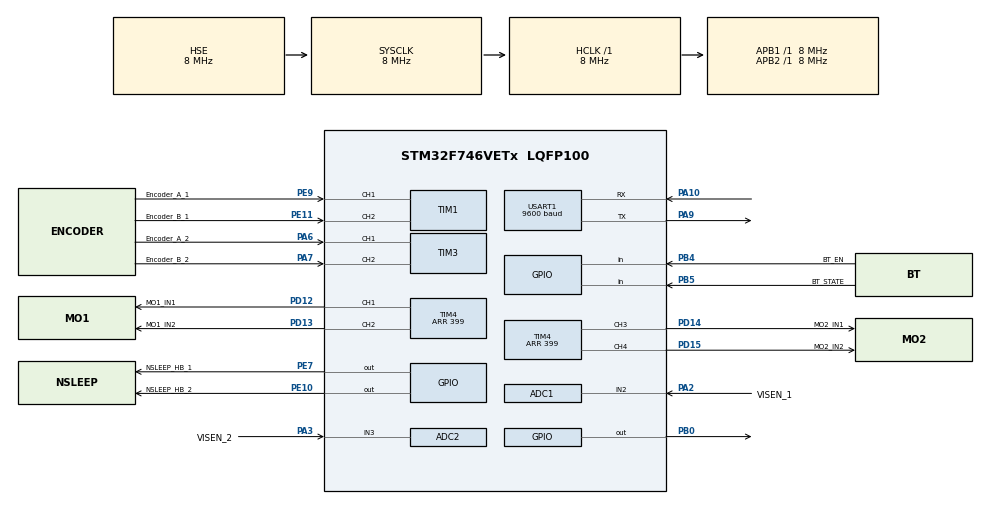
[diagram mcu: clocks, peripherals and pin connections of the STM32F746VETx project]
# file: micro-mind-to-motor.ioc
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ADC1.Channel-1\#ChannelRegularConversion=ADC_CHANNEL_2
ADC1.NbrOfConversionFlag=1
ADC1.Rank-1\#ChannelRegularConversion=1
ADC1.SamplingTime-1\#ChannelRegularConversion=ADC_SAMPLETIME_3CYCLES
ADC1.master=1
ADC2.Channel-0\#ChannelRegularConversion=ADC_CHANNEL_3
ADC2.NbrOfConversionFlag=1
ADC2.Rank-0\#ChannelRegularConversion=1
ADC2.SamplingTime-0\#ChannelRegularConversion=ADC_SAMPLETIME_3CYCLES
CORTEX_M7.default_mode_Activation=1
Mcu.Family=STM32F7
Mcu.Name=STM32F746VETx
Mcu.Package=LQFP100
NVIC.PriorityGroup=NVIC_PRIORITYGROUP_4
NVIC.USART1_IRQn=true\:5\:0\:false\:false\:true\:true\:true\:true
PA10.Mode=Asynchronous
PA10.Signal=USART1_RX
PA13.Mode=Serial_Wire
PA13.Signal=SYS_JTMS-SWDIO
PA14.Mode=Serial_Wire
PA14.Signal=SYS_JTCK-SWCLK
PA2.GPIO_Label=VISEN_1
PA2.Signal=ADCx_IN2
PA3.GPIO_Label=VISEN_2
PA3.Signal=ADCx_IN3
PA6.GPIO_Label=Encoder_A_2
PA6.Signal=S_TIM3_CH1
PA7.GPIO_Label=Encoder_B_2
PA7.Signal=S_TIM3_CH2
PA9.Mode=Asynchronous
PA9.Signal=USART1_TX
PB0.Signal=GPIO_Output
PB4.GPIO_Label=BT_EN
PB4.Signal=GPIO_Input
PB5.GPIO_Label=BT_STATE
PB5.Signal=GPIO_Input
PC14/OSC32_IN.Mode=LSE-External-Oscillator
PC14/OSC32_IN.Signal=RCC_OSC32_IN
PC15/OSC32_OUT.Mode=LSE-External-Oscillator
PC15/OSC32_OUT.Signal=RCC_OSC32_OUT
PD12.GPIO_Label=MO1_IN1
PD12.Signal=S_TIM4_CH1
PD13.GPIO_Label=MO1_IN2
PD13.Signal=S_TIM4_CH2
PD14.GPIO_Label=MO2_IN1
PD14.Signal=S_TIM4_CH3
PD15.GPIO_Label=MO2_IN2
PD15.Signal=S_TIM4_CH4
PE10.GPIO_Label=NSLEEP_HB_2
PE10.Signal=GPIO_Output
PE11.GPIO_Label=Encoder_B_1
PE11.Signal=S_TIM1_CH2
PE7.GPIO_Label=NSLEEP_HB_1
PE7.Signal=GPIO_Output
PE9.GPIO_Label=Encoder_A_1
PE9.Signal=S_TIM1_CH1
PH0/OSC_IN.Mode=HSE-External-Oscillator
PH0/OSC_IN.Signal=RCC_OSC_IN
PH1/OSC_OUT.Mode=HSE-External-Oscillator
PH1/OSC_OUT.Signal=RCC_OSC_OUT
ProjectManager.HeapSize=0x200
ProjectManager.StackSize=0x400
ProjectManager.TargetToolchain=STM32CubeIDE
RCC.AHBFreq_Value=8000000
RCC.APB1Freq_Value=8000000
RCC.APB1TimFreq_Value=8000000
RCC.APB2Freq_Value=8000000
RCC.APB2TimFreq_Value=8000000
RCC.CSICalibrationValue=32
RCC.CortexFreq_Value=8000000
RCC.DATA_CACHE_ENABLE=1
RCC.HCLKFreq_Value=8000000
RCC.HSE_VALUE=8000000
RCC.HSI_VALUE=16000000
RCC.INSTRUCTION_CACHE_ENABLE=1
RCC.LSE_Drive_CapabilityArg=RCC_LSEDRIVE_LOW
RCC.MSIAutoCalibration=ENABLED
RCC.MSICalibrationValue=0
RCC.PLL1_VCI_Range=RCC_PLL1VCIRANGE_3
RCC.PLL1_VCO_SEL=RCC_PLL1VCOWIDE
RCC.PLL2FRACN=0
RCC.PLL2_VCI_Range=RCC_PLL2VCIRANGE_3
RCC.PLL2_VCO_SEL=RCC_PLL2VCOWIDE
RCC.PLL3FRACN=0
RCC.PLL3_VCI_Range=RCC_PLL3VCIRANGE_3
RCC.PLL3_VCO_SEL=RCC_PLL3VCOWIDE
RCC.PLLFRACN=0
RCC.PLLSourceVirtual=RCC_PLLSOURCE_HSE
RCC.PREFETCH_ENABLE=0
RCC.ProductRev=revV
RCC.SYSCLKFreq_VALUE=8000000
RCC.SYSCLKSource=RCC_SYSCLKSOURCE_HSE
RCC.USBFreq_Value=48000000
RCC.VCOOutputFreq_Value=96000000
SH.ADCx_IN2.0=ADC1_IN2,IN2
SH.ADCx_IN3.0=ADC2_IN3,IN3
SH.S_TIM1_CH1.0=TIM1_CH1,Encoder_Interface
SH.S_TIM1_CH2.0=TIM1_CH2,Encoder_Interface
SH.S_TIM3_CH1.0=TIM3_CH1,Encoder_Interface
SH.S_TIM3_CH2.0=TIM3_CH2,Encoder_Interface
SH.S_TIM4_CH1.0=TIM4_CH1,PWM Generation1 CH1
SH.S_TIM4_CH2.0=TIM4_CH2,PWM Generation2 CH2
SH.S_TIM4_CH3.0=TIM4_CH3,PWM Generation3 CH3
SH.S_TIM4_CH4.0=TIM4_CH4,PWM Generation4 CH4
TIM1.EncoderMode=TIM_ENCODERMODE_TI12
TIM1.IC1Filter=8
TIM1.IC2Filter=8
TIM3.EncoderMode=TIM_ENCODERMODE_TI12
TIM3.IC1Filter=8
TIM3.IC2Filter=8
TIM4.AutoReloadPreload=TIM_AUTORELOAD_PRELOAD_ENABLE
TIM4.Channel-PWM\ Generation1\ CH1=TIM_CHANNEL_1
TIM4.Channel-PWM\ Generation2\ CH2=TIM_CHANNEL_2
TIM4.Channel-PWM\ Generation3\ CH3=TIM_CHANNEL_3
TIM4.Channel-PWM\ Generation4\ CH4=TIM_CHANNEL_4
TIM4.Period=399
USART1.BaudRate=9600
USART1.VirtualMode-Asynchronous=VM_ASYNC
VP_TIM4_VS_ClockSourceINT.Mode=Internal
board=custom

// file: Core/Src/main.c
/* USER CODE BEGIN Header */
/**
  ******************************************************************************
  * @file           : main.c
  * @brief          : Main program body
  ******************************************************************************
  * @attention
  *
  * Copyright (c) 2026 STMicroelectronics.
  * All rights reserved.
  *
  * This software is licensed under terms that can be found in the LICENSE file
  * in the root directory of this software component.
  * If no LICENSE file comes with this software, it is provided AS-IS.
  *
  ******************************************************************************
  */
/* USER CODE END Header */
#include "main.h"

/* USER CODE BEGIN Includes */
#include <stdio.h>
/* USER CODE END Includes */

/* USER CODE BEGIN PD */
/* Motor input pins -> TIM4 channels */
#define MO1_IN1   TIM_CHANNEL_1   // PD12  TIM4_CH1  Motor 1 (U3, J8)
#define MO1_IN2   TIM_CHANNEL_2   // PD13  TIM4_CH2
#define MO2_IN1   TIM_CHANNEL_3   // PD14  TIM4_CH3  Motor 2 (U2, J7)
#define MO2_IN2   TIM_CHANNEL_4   // PD15  TIM4_CH4
#define MOTOR_MAX_DUTY_PERCENT 71
#define LINK_TIMEOUT_MS       400U
#define STATUS_PERIOD_MS      100U
#define RX_LINE_CAPACITY       16U
#define UART_RX_BUFFER_CAPACITY 64U
/* USER CODE END PD */

ADC_HandleTypeDef hadc1;
ADC_HandleTypeDef hadc2;

TIM_HandleTypeDef htim1;
TIM_HandleTypeDef htim3;
TIM_HandleTypeDef htim4;

UART_HandleTypeDef huart1;

/* USER CODE BEGIN PV */
static uint8_t uart_rx_interrupt_byte;
static volatile uint8_t uart_rx_buffer[UART_RX_BUFFER_CAPACITY];
static volatile uint16_t uart_rx_head;
static volatile uint16_t uart_rx_tail;
static volatile uint32_t uart_rx_errors;
/* USER CODE END PV */

void SystemClock_Config(void);
static void MPU_Config(void);
static void MX_GPIO_Init(void);
static void MX_ADC1_Init(void);
static void MX_TIM1_Init(void);
static void MX_TIM3_Init(void);
static void MX_TIM4_Init(void);
static void MX_ADC2_Init(void);
static void MX_USART1_UART_Init(void);
/* USER CODE BEGIN PFP */
static void Motors_Stop(void);
static int16_t Motors_ClampWheelPercent(int16_t percent);
static void Motors_SetWheelPercent(int16_t left, int16_t right);
static uint8_t Parse_Wheel_Command(const char *line, uint8_t length,
                                   int16_t *left, int16_t *right);
/* USER CODE END PFP */

/* USER CODE BEGIN 0 */
static void Motors_Stop(void)
{
  __HAL_TIM_SET_COMPARE(&htim4, MO1_IN1, 0U);
  __HAL_TIM_SET_COMPARE(&htim4, MO1_IN2, 0U);
  __HAL_TIM_SET_COMPARE(&htim4, MO2_IN1, 0U);
  __HAL_TIM_SET_COMPARE(&htim4, MO2_IN2, 0U);

  HAL_GPIO_WritePin(NSLEEP_HB_1_GPIO_Port, NSLEEP_HB_1_Pin, GPIO_PIN_RESET);
  HAL_GPIO_WritePin(NSLEEP_HB_2_GPIO_Port, NSLEEP_HB_2_Pin, GPIO_PIN_RESET);
  HAL_GPIO_WritePin(GPIOB, GPIO_PIN_0, GPIO_PIN_RESET);
}

static int16_t Motors_ClampWheelPercent(int16_t percent)
{
  if (percent > MOTOR_MAX_DUTY_PERCENT)
  {
    return MOTOR_MAX_DUTY_PERCENT;
  }
  if (percent < -MOTOR_MAX_DUTY_PERCENT)
  {
    return -MOTOR_MAX_DUTY_PERCENT;
  }
  return percent;
}

static void Motors_SetWheelPercent(int16_t left, int16_t right)
{
  uint32_t period = __HAL_TIM_GET_AUTORELOAD(&htim4) + 1U;
  uint32_t left_magnitude = (uint32_t)(left < 0 ? -left : left);
  uint32_t right_magnitude = (uint32_t)(right < 0 ? -right : right);
  uint32_t left_duty = (period * left_magnitude) / 100U;
  uint32_t right_duty = (period * right_magnitude) / 100U;

  /* Motor 1 (J8) is the left wheel. Motor 2 (J7) is mounted as its mirror,
     so drive its opposite input to make positive duty move both wheels
     forward. */
  __HAL_TIM_SET_COMPARE(&htim4, MO1_IN1, left > 0 ? left_duty : 0U);
  __HAL_TIM_SET_COMPARE(&htim4, MO1_IN2, left < 0 ? left_duty : 0U);
  __HAL_TIM_SET_COMPARE(&htim4, MO2_IN1, right < 0 ? right_duty : 0U);
  __HAL_TIM_SET_COMPARE(&htim4, MO2_IN2, right > 0 ? right_duty : 0U);

  HAL_GPIO_WritePin(NSLEEP_HB_1_GPIO_Port, NSLEEP_HB_1_Pin,
                    left != 0 ? GPIO_PIN_SET : GPIO_PIN_RESET);
  HAL_GPIO_WritePin(NSLEEP_HB_2_GPIO_Port, NSLEEP_HB_2_Pin,
                    right != 0 ? GPIO_PIN_SET : GPIO_PIN_RESET);
  HAL_GPIO_WritePin(GPIOB, GPIO_PIN_0,
                    (left != 0 || right != 0) ? GPIO_PIN_SET : GPIO_PIN_RESET);
}

static uint8_t Parse_Percent(const char *line, uint8_t length,
                             uint8_t *at, int16_t *value)
{
  uint16_t total = 0U;
  uint8_t digits = 0U;
  uint8_t negative = 0U;

  if (*at < length && line[*at] == '-')
  {
    negative = 1U;
    (*at)++;
  }

  while (*at < length && line[*at] >= '0' && line[*at] <= '9' && digits < 4U)
  {
    total = (uint16_t)(total * 10U + (uint16_t)(line[*at] - '0'));
    (*at)++;
    digits++;
  }
  if (digits == 0U || digits > 3U || total > 100U)
  {
    return 0U;
  }
  *value = negative != 0U ? -(int16_t)total : (int16_t)total;
  return 1U;
}

static uint8_t Parse_Wheel_Command(const char *line, uint8_t length,
                                   int16_t *left, int16_t *right)
{
  uint8_t at = 1U;

  if (length < 4U || line[0] != 'W' ||
      Parse_Percent(line, length, &at, left) == 0U ||
      at >= length || line[at++] != ',' ||
      Parse_Percent(line, length, &at, right) == 0U ||
      at != length)
  {
    return 0U;
  }
  return 1U;
}

/* USER CODE END 0 */

int main(void)
{

  /* USER CODE BEGIN 1 */
  static const uint8_t identity[] = "I mind2motor 1\r\n";
  uint8_t received_byte = 0U;
  char rx_line[RX_LINE_CAPACITY];
  uint8_t rx_length = 0U;
  uint8_t rx_spoiled = 0U;
  int16_t left_percent = 0;
  int16_t right_percent = 0;
  uint8_t link_live = 0U;
  uint32_t rejected = 0U;
  uint32_t observed_rx_errors = 0U;
  uint32_t last_command_tick = 0U;
  uint32_t last_status_tick = 0U;
  char status_message[48];
  /* USER CODE END 1 */

  /* MPU Configuration--------------------------------------------------------*/
  MPU_Config();

  /* MCU Configuration--------------------------------------------------------*/

  /* Reset of all peripherals, Initializes the Flash interface and the Systick. */
  HAL_Init();

  /* Configure the system clock */
  SystemClock_Config();

  /* Initialize all configured peripherals */
  MX_GPIO_Init();
  MX_ADC1_Init();
  MX_TIM1_Init();
  MX_TIM3_Init();
  MX_TIM4_Init();
  MX_ADC2_Init();
  MX_USART1_UART_Init();
  /* USER CODE BEGIN 2 */
  /* Keep both motor drivers asleep until a valid Bluetooth wheel frame. */
  HAL_GPIO_WritePin(NSLEEP_HB_1_GPIO_Port, NSLEEP_HB_1_Pin, GPIO_PIN_RESET);
  HAL_GPIO_WritePin(NSLEEP_HB_2_GPIO_Port, NSLEEP_HB_2_Pin, GPIO_PIN_RESET);

  /* Start PWM with every input at 0% duty, then keep both drivers asleep. */
  if (HAL_TIM_PWM_Start(&htim4, MO1_IN1) != HAL_OK ||
      HAL_TIM_PWM_Start(&htim4, MO1_IN2) != HAL_OK ||
      HAL_TIM_PWM_Start(&htim4, MO2_IN1) != HAL_OK ||
      HAL_TIM_PWM_Start(&htim4, MO2_IN2) != HAL_OK)
  {
    Error_Handler();
  }

  Motors_Stop();
  if (HAL_UART_Receive_IT(&huart1, &uart_rx_interrupt_byte, 1U) != HAL_OK)
  {
    Error_Handler();
  }
  HAL_UART_Transmit(&huart1, (uint8_t *)identity,
                    sizeof(identity) - 1U, 100U);
  last_status_tick = HAL_GetTick();
  /* USER CODE END 2 */

  /* Infinite loop */
  while (1)
  {

    /* USER CODE BEGIN 3 */
    if (uart_rx_tail != uart_rx_head)
    {
      received_byte = uart_rx_buffer[uart_rx_tail];
      uart_rx_tail = (uint16_t)((uart_rx_tail + 1U) % UART_RX_BUFFER_CAPACITY);

      if (received_byte == '\n')
      {
        if (rx_spoiled != 0U)
        {
          rejected++;
        }
        else if (rx_length == 1U && rx_line[0] == '?')
        {
          HAL_UART_Transmit(&huart1, (uint8_t *)identity,
                            sizeof(identity) - 1U, 100U);
        }
        else if (rx_length != 0U &&
                 Parse_Wheel_Command(rx_line, rx_length,
                                     &left_percent, &right_percent) != 0U)
        {
          left_percent = Motors_ClampWheelPercent(left_percent);
          right_percent = Motors_ClampWheelPercent(right_percent);
          Motors_SetWheelPercent(left_percent, right_percent);
          last_command_tick = HAL_GetTick();
          link_live = 1U;
        }
        else if (rx_length != 0U)
        {
          rejected++;
        }
        rx_length = 0U;
        rx_spoiled = 0U;
      }
      else if (received_byte == '\r')
      {
        /* Accept CRLF as well as LF. */
      }
      else if (rx_length < sizeof(rx_line))
      {
        rx_line[rx_length++] = (char)received_byte;
      }
      else
      {
        rx_spoiled = 1U;
      }
    }

    if (observed_rx_errors != uart_rx_errors)
    {
      rx_length = 0U;
      rx_spoiled = 0U;
      rejected += uart_rx_errors - observed_rx_errors;
      observed_rx_errors = uart_rx_errors;
    }

    uint32_t now = HAL_GetTick();
    if (link_live != 0U && now - last_command_tick > LINK_TIMEOUT_MS)
    {
      Motors_Stop();
      left_percent = 0;
      right_percent = 0;
      link_live = 0U;
    }

    if (now - last_status_tick >= STATUS_PERIOD_MS)
    {
      int length = snprintf(status_message, sizeof(status_message),
                            "S %s %d %d %lu\r\n",
                            link_live != 0U ? "pc" : "idle",
                            (int)left_percent,
                            (int)right_percent,
                            (unsigned long)rejected);
      if (length > 0)
      {
        HAL_UART_Transmit(&huart1, (uint8_t *)status_message,
                          (uint16_t)length, 100U);
      }
      last_status_tick = now;
    }
  }
  /* USER CODE END 3 */
}

void SystemClock_Config(void)
{
  RCC_OscInitTypeDef RCC_OscInitStruct = {0};
  RCC_ClkInitTypeDef RCC_ClkInitStruct = {0};

  /** Configure LSE Drive Capability
  */
  HAL_PWR_EnableBkUpAccess();

  /** Configure the main internal regulator output voltage
  */
  __HAL_RCC_PWR_CLK_ENABLE();
  __HAL_PWR_VOLTAGESCALING_CONFIG(PWR_REGULATOR_VOLTAGE_SCALE3);

  /** Initializes the RCC Oscillators according to the specified parameters
  * in the RCC_OscInitTypeDef structure.
  */
  RCC_OscInitStruct.OscillatorType = RCC_OSCILLATORTYPE_HSE;
  RCC_OscInitStruct.HSEState = RCC_HSE_ON;
  RCC_OscInitStruct.PLL.PLLState = RCC_PLL_NONE;
  if (HAL_RCC_OscConfig(&RCC_OscInitStruct) != HAL_OK)
  {
    Error_Handler();
  }

  /** Initializes the CPU, AHB and APB buses clocks
  */
  RCC_ClkInitStruct.ClockType = RCC_CLOCKTYPE_HCLK|RCC_CLOCKTYPE_SYSCLK
                              |RCC_CLOCKTYPE_PCLK1|RCC_CLOCKTYPE_PCLK2;
  RCC_ClkInitStruct.SYSCLKSource = RCC_SYSCLKSOURCE_HSE;
  RCC_ClkInitStruct.AHBCLKDivider = RCC_SYSCLK_DIV1;
  RCC_ClkInitStruct.APB1CLKDivider = RCC_HCLK_DIV1;
  RCC_ClkInitStruct.APB2CLKDivider = RCC_HCLK_DIV1;

  if (HAL_RCC_ClockConfig(&RCC_ClkInitStruct, FLASH_LATENCY_0) != HAL_OK)
  {
    Error_Handler();
  }
}

static void MX_ADC1_Init(void)
{

  ADC_ChannelConfTypeDef sConfig = {0};

  /** Configure the global features of the ADC (Clock, Resolution, Data Alignment and number of conversion)
  */
  hadc1.Instance = ADC1;
  hadc1.Init.ClockPrescaler = ADC_CLOCK_SYNC_PCLK_DIV2;
  hadc1.Init.Resolution = ADC_RESOLUTION_12B;
  hadc1.Init.ScanConvMode = ADC_SCAN_DISABLE;
  hadc1.Init.ContinuousConvMode = DISABLE;
  hadc1.Init.DiscontinuousConvMode = DISABLE;
  hadc1.Init.ExternalTrigConvEdge = ADC_EXTERNALTRIGCONVEDGE_NONE;
  hadc1.Init.ExternalTrigConv = ADC_SOFTWARE_START;
  hadc1.Init.DataAlign = ADC_DATAALIGN_RIGHT;
  hadc1.Init.NbrOfConversion = 1;
  hadc1.Init.DMAContinuousRequests = DISABLE;
  hadc1.Init.EOCSelection = ADC_EOC_SINGLE_CONV;
  if (HAL_ADC_Init(&hadc1) != HAL_OK)
  {
    Error_Handler();
  }

  /** Configure for the selected ADC regular channel its corresponding rank in the sequencer and its sample time.
  */
  sConfig.Channel = ADC_CHANNEL_2;
  sConfig.Rank = ADC_REGULAR_RANK_1;
  sConfig.SamplingTime = ADC_SAMPLETIME_3CYCLES;
  if (HAL_ADC_ConfigChannel(&hadc1, &sConfig) != HAL_OK)
  {
    Error_Handler();
  }

}

static void MX_ADC2_Init(void)
{

  ADC_ChannelConfTypeDef sConfig = {0};

  /** Configure the global features of the ADC (Clock, Resolution, Data Alignment and number of conversion)
  */
  hadc2.Instance = ADC2;
  hadc2.Init.ClockPrescaler = ADC_CLOCK_SYNC_PCLK_DIV2;
  hadc2.Init.Resolution = ADC_RESOLUTION_12B;
  hadc2.Init.ScanConvMode = ADC_SCAN_DISABLE;
  hadc2.Init.ContinuousConvMode = DISABLE;
  hadc2.Init.DiscontinuousConvMode = DISABLE;
  hadc2.Init.ExternalTrigConvEdge = ADC_EXTERNALTRIGCONVEDGE_NONE;
  hadc2.Init.ExternalTrigConv = ADC_SOFTWARE_START;
  hadc2.Init.DataAlign = ADC_DATAALIGN_RIGHT;
  hadc2.Init.NbrOfConversion = 1;
  hadc2.Init.DMAContinuousRequests = DISABLE;
  hadc2.Init.EOCSelection = ADC_EOC_SINGLE_CONV;
  if (HAL_ADC_Init(&hadc2) != HAL_OK)
  {
    Error_Handler();
  }

  /** Configure for the selected ADC regular channel its corresponding rank in the sequencer and its sample time.
  */
  sConfig.Channel = ADC_CHANNEL_3;
  sConfig.Rank = ADC_REGULAR_RANK_1;
  sConfig.SamplingTime = ADC_SAMPLETIME_3CYCLES;
  if (HAL_ADC_ConfigChannel(&hadc2, &sConfig) != HAL_OK)
  {
    Error_Handler();
  }

}

static void MX_TIM1_Init(void)
{

  TIM_Encoder_InitTypeDef sConfig = {0};
  TIM_MasterConfigTypeDef sMasterConfig = {0};

  htim1.Instance = TIM1;
  htim1.Init.Prescaler = 0;
  htim1.Init.CounterMode = TIM_COUNTERMODE_UP;
  htim1.Init.Period = 65535;
  htim1.Init.ClockDivision = TIM_CLOCKDIVISION_DIV1;
  htim1.Init.RepetitionCounter = 0;
  htim1.Init.AutoReloadPreload = TIM_AUTORELOAD_PRELOAD_DISABLE;
  sConfig.EncoderMode = TIM_ENCODERMODE_TI12;
  sConfig.IC1Polarity = TIM_ICPOLARITY_RISING;
  sConfig.IC1Selection = TIM_ICSELECTION_DIRECTTI;
  sConfig.IC1Prescaler = TIM_ICPSC_DIV1;
  sConfig.IC1Filter = 8;
  sConfig.IC2Polarity = TIM_ICPOLARITY_RISING;
  sConfig.IC2Selection = TIM_ICSELECTION_DIRECTTI;
  sConfig.IC2Prescaler = TIM_ICPSC_DIV1;
  sConfig.IC2Filter = 8;
  if (HAL_TIM_Encoder_Init(&htim1, &sConfig) != HAL_OK)
  {
    Error_Handler();
  }
  sMasterConfig.MasterOutputTrigger = TIM_TRGO_RESET;
  sMasterConfig.MasterOutputTrigger2 = TIM_TRGO2_RESET;
  sMasterConfig.MasterSlaveMode = TIM_MASTERSLAVEMODE_DISABLE;
  if (HAL_TIMEx_MasterConfigSynchronization(&htim1, &sMasterConfig) != HAL_OK)
  {
    Error_Handler();
  }

}

static void MX_TIM3_Init(void)
{

  TIM_Encoder_InitTypeDef sConfig = {0};
  TIM_MasterConfigTypeDef sMasterConfig = {0};

  htim3.Instance = TIM3;
  htim3.Init.Prescaler = 0;
  htim3.Init.CounterMode = TIM_COUNTERMODE_UP;
  htim3.Init.Period = 65535;
  htim3.Init.ClockDivision = TIM_CLOCKDIVISION_DIV1;
  htim3.Init.AutoReloadPreload = TIM_AUTORELOAD_PRELOAD_DISABLE;
  sConfig.EncoderMode = TIM_ENCODERMODE_TI12;
  sConfig.IC1Polarity = TIM_ICPOLARITY_RISING;
  sConfig.IC1Selection = TIM_ICSELECTION_DIRECTTI;
  sConfig.IC1Prescaler = TIM_ICPSC_DIV1;
  sConfig.IC1Filter = 8;
  sConfig.IC2Polarity = TIM_ICPOLARITY_RISING;
  sConfig.IC2Selection = TIM_ICSELECTION_DIRECTTI;
  sConfig.IC2Prescaler = TIM_ICPSC_DIV1;
  sConfig.IC2Filter = 8;
  if (HAL_TIM_Encoder_Init(&htim3, &sConfig) != HAL_OK)
  {
    Error_Handler();
  }
  sMasterConfig.MasterOutputTrigger = TIM_TRGO_RESET;
  sMasterConfig.MasterSlaveMode = TIM_MASTERSLAVEMODE_DISABLE;
  if (HAL_TIMEx_MasterConfigSynchronization(&htim3, &sMasterConfig) != HAL_OK)
  {
    Error_Handler();
  }

}

static void MX_TIM4_Init(void)
{

  TIM_ClockConfigTypeDef sClockSourceConfig = {0};
  TIM_MasterConfigTypeDef sMasterConfig = {0};
  TIM_OC_InitTypeDef sConfigOC = {0};

  htim4.Instance = TIM4;
  htim4.Init.Prescaler = 0;
  htim4.Init.CounterMode = TIM_COUNTERMODE_UP;
  htim4.Init.Period = 399;
  htim4.Init.ClockDivision = TIM_CLOCKDIVISION_DIV1;
  htim4.Init.AutoReloadPreload = TIM_AUTORELOAD_PRELOAD_ENABLE;
  if (HAL_TIM_Base_Init(&htim4) != HAL_OK)
  {
    Error_Handler();
  }
  sClockSourceConfig.ClockSource = TIM_CLOCKSOURCE_INTERNAL;
  if (HAL_TIM_ConfigClockSource(&htim4, &sClockSourceConfig) != HAL_OK)
  {
    Error_Handler();
  }
  if (HAL_TIM_PWM_Init(&htim4) != HAL_OK)
  {
    Error_Handler();
  }
  sMasterConfig.MasterOutputTrigger = TIM_TRGO_RESET;
  sMasterConfig.MasterSlaveMode = TIM_MASTERSLAVEMODE_DISABLE;
  if (HAL_TIMEx_MasterConfigSynchronization(&htim4, &sMasterConfig) != HAL_OK)
  {
    Error_Handler();
  }
  sConfigOC.OCMode = TIM_OCMODE_PWM1;
  sConfigOC.Pulse = 0;
  sConfigOC.OCPolarity = TIM_OCPOLARITY_HIGH;
  sConfigOC.OCFastMode = TIM_OCFAST_DISABLE;
  if (HAL_TIM_PWM_ConfigChannel(&htim4, &sConfigOC, TIM_CHANNEL_1) != HAL_OK)
  {
    Error_Handler();
  }
  if (HAL_TIM_PWM_ConfigChannel(&htim4, &sConfigOC, TIM_CHANNEL_2) != HAL_OK)
  {
    Error_Handler();
  }
  if (HAL_TIM_PWM_ConfigChannel(&htim4, &sConfigOC, TIM_CHANNEL_3) != HAL_OK)
  {
    Error_Handler();
  }
  if (HAL_TIM_PWM_ConfigChannel(&htim4, &sConfigOC, TIM_CHANNEL_4) != HAL_OK)
  {
    Error_Handler();
  }
  HAL_TIM_MspPostInit(&htim4);

}

static void MX_USART1_UART_Init(void)
{

  huart1.Instance = USART1;
  huart1.Init.BaudRate = 9600;
  huart1.Init.WordLength = UART_WORDLENGTH_8B;
  huart1.Init.StopBits = UART_STOPBITS_1;
  huart1.Init.Parity = UART_PARITY_NONE;
  huart1.Init.Mode = UART_MODE_TX_RX;
  huart1.Init.HwFlowCtl = UART_HWCONTROL_NONE;
  huart1.Init.OverSampling = UART_OVERSAMPLING_16;
  huart1.Init.OneBitSampling = UART_ONE_BIT_SAMPLE_DISABLE;
  huart1.AdvancedInit.AdvFeatureInit = UART_ADVFEATURE_NO_INIT;
  if (HAL_UART_Init(&huart1) != HAL_OK)
  {
    Error_Handler();
  }

}

static void MX_GPIO_Init(void)
{
  GPIO_InitTypeDef GPIO_InitStruct = {0};

  /* GPIO Ports Clock Enable */
  __HAL_RCC_GPIOC_CLK_ENABLE();
  __HAL_RCC_GPIOH_CLK_ENABLE();
  __HAL_RCC_GPIOA_CLK_ENABLE();
  __HAL_RCC_GPIOB_CLK_ENABLE();
  __HAL_RCC_GPIOE_CLK_ENABLE();
  __HAL_RCC_GPIOD_CLK_ENABLE();

  /*Configure GPIO pin Output Level */
  HAL_GPIO_WritePin(GPIOB, GPIO_PIN_0, GPIO_PIN_RESET);

  /*Configure GPIO pin Output Level */
  HAL_GPIO_WritePin(GPIOE, NSLEEP_HB_1_Pin|NSLEEP_HB_2_Pin, GPIO_PIN_RESET);

  /*Configure GPIO pin : PB0 */
  GPIO_InitStruct.Pin = GPIO_PIN_0;
  GPIO_InitStruct.Mode = GPIO_MODE_OUTPUT_PP;
  GPIO_InitStruct.Pull = GPIO_NOPULL;
  GPIO_InitStruct.Speed = GPIO_SPEED_FREQ_LOW;
  HAL_GPIO_Init(GPIOB, &GPIO_InitStruct);

  /*Configure GPIO pins : NSLEEP_HB_1_Pin NSLEEP_HB_2_Pin */
  GPIO_InitStruct.Pin = NSLEEP_HB_1_Pin|NSLEEP_HB_2_Pin;
  GPIO_InitStruct.Mode = GPIO_MODE_OUTPUT_PP;
  GPIO_InitStruct.Pull = GPIO_NOPULL;
  GPIO_InitStruct.Speed = GPIO_SPEED_FREQ_LOW;
  HAL_GPIO_Init(GPIOE, &GPIO_InitStruct);

  /*Configure GPIO pins : BT_EN_Pin BT_STATE_Pin */
  GPIO_InitStruct.Pin = BT_EN_Pin|BT_STATE_Pin;
  GPIO_InitStruct.Mode = GPIO_MODE_INPUT;
  GPIO_InitStruct.Pull = GPIO_NOPULL;
  HAL_GPIO_Init(GPIOB, &GPIO_InitStruct);

}

/* USER CODE BEGIN 4 */

void HAL_UART_RxCpltCallback(UART_HandleTypeDef *huart)
{
  if (huart->Instance == USART1)
  {
    uint16_t next = (uint16_t)((uart_rx_head + 1U) % UART_RX_BUFFER_CAPACITY);

    if (next != uart_rx_tail)
    {
      uart_rx_buffer[uart_rx_head] = uart_rx_interrupt_byte;
      uart_rx_head = next;
    }
    else
    {
      uart_rx_errors++;
    }

    if (HAL_UART_Receive_IT(huart, &uart_rx_interrupt_byte, 1U) != HAL_OK)
    {
      uart_rx_errors++;
    }
  }
}

void HAL_UART_ErrorCallback(UART_HandleTypeDef *huart)
{
  if (huart->Instance == USART1)
  {
    uart_rx_errors++;
    if (huart->RxState == HAL_UART_STATE_READY)
    {
      (void)HAL_UART_Receive_IT(huart, &uart_rx_interrupt_byte, 1U);
    }
  }
}

/* USER CODE END 4 */

 /* MPU Configuration */

void MPU_Config(void)
{
  MPU_Region_InitTypeDef MPU_InitStruct = {0};

  /* Disables the MPU */
  HAL_MPU_Disable();

  /** Initializes and configures the Region and the memory to be protected
  */
  MPU_InitStruct.Enable = MPU_REGION_ENABLE;
  MPU_InitStruct.Number = MPU_REGION_NUMBER0;
  MPU_InitStruct.BaseAddress = 0x0;
  MPU_InitStruct.Size = MPU_REGION_SIZE_4GB;
  MPU_InitStruct.SubRegionDisable = 0x87;
  MPU_InitStruct.TypeExtField = MPU_TEX_LEVEL0;
  MPU_InitStruct.AccessPermission = MPU_REGION_NO_ACCESS;
  MPU_InitStruct.DisableExec = MPU_INSTRUCTION_ACCESS_DISABLE;
  MPU_InitStruct.IsShareable = MPU_ACCESS_SHAREABLE;
  MPU_InitStruct.IsCacheable = MPU_ACCESS_NOT_CACHEABLE;
  MPU_InitStruct.IsBufferable = MPU_ACCESS_NOT_BUFFERABLE;

  HAL_MPU_ConfigRegion(&MPU_InitStruct);
  /* Enables the MPU */
  HAL_MPU_Enable(MPU_PRIVILEGED_DEFAULT);

}

void Error_Handler(void)
{
  __disable_irq();
  while (1)
  {
  }
}
